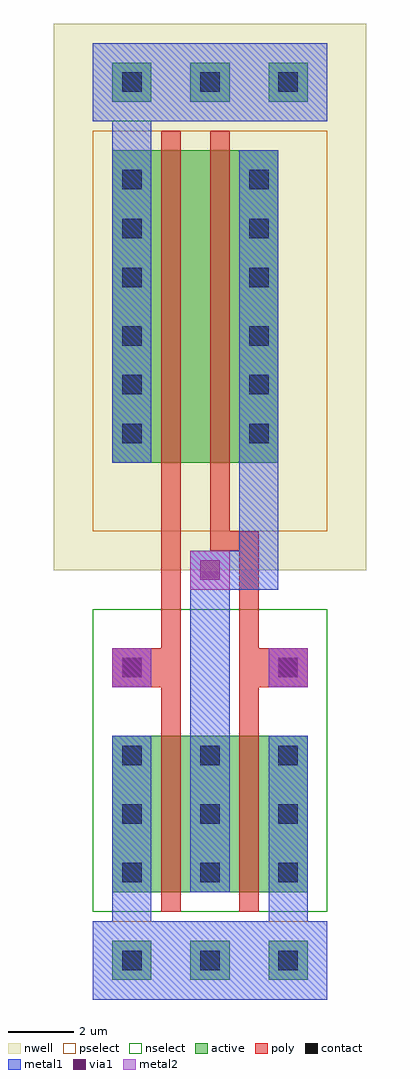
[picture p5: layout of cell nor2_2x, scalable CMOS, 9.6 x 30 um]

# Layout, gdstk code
import gdstk
lib = gdstk.Library(unit=1e-6, precision=1e-09)
def R(c, l, rs):  # rectangles x0, y0, x1, y1
    for r in rs: c.add(gdstk.rectangle(r[:2], r[2:], *l))
def A(c, l, x, y, w, h, nx, ny, dx, dy):  # array of equal rectangles
    R(c, l, [(x+i*dx, y+j*dy, x+i*dx+w, y+j*dy+h) for i in range(nx) for j in range(ny)])
def P(c, l, *ps):  # polygons
    for p in ps: c.add(gdstk.Polygon(p, *l))
contact = (25, 0)
nwell = (42, 0)
active = (43, 0)
pselect = (44, 0)
nselect = (45, 0)
poly = (46, 0)
metal1 = (49, 0)
via1 = (50, 0)
metal2 = (51, 0)

nor2_2x = lib.new_cell('nor2_2x')
A(nor2_2x, contact, 0.9, -0.3, 0.6, 0.6, 3, 2, 2.4, 2.7)
A(nor2_2x, contact, 0.9, 4.2, 0.6, 0.6, 3, 2, 2.4, 1.8)
A(nor2_2x, contact, 0.9, 15.9, 0.6, 0.6, 1, 3, 0, 1.5)
A(nor2_2x, contact, 4.8, 15.9, 0.6, 0.6, 1, 3, 0, 1.5)
A(nor2_2x, contact, 0.9, 20.7, 0.6, 0.6, 1, 3, 0, 1.5)
A(nor2_2x, contact, 4.8, 20.7, 0.6, 0.6, 1, 3, 0, 1.5)
A(nor2_2x, contact, 0.9, 26.7, 0.6, 0.6, 3, 1, 2.4, 0)
R(nor2_2x, contact, [(0.9,8.7,1.5,9.3), (5.7,8.7,6.3,9.3)])
R(nor2_2x, nwell, [(-1.2,12,8.4,28.8)])
A(nor2_2x, active, 0.6, -0.6, 1.2, 1.2, 3, 2, 2.4, 27)
R(nor2_2x, active, [(0.6,2.1,6.6,6.9), (0.6,15.3,5.7,24.9)])
R(nor2_2x, pselect, [(0,-1.2,7.2,1.2), (0,13.2,7.2,25.5)])
R(nor2_2x, nselect, [(0,1.5,7.2,10.8), (0,25.8,7.2,28.2)])
R(nor2_2x, poly, [(2.1,1.5,2.7,25.5), (0.6,8.4,2.1,9.6), (5.1,8.4,6.6,9.6)])
P(nor2_2x, poly, [(5.1,13.2),(4.2,13.2),(4.2,25.5),(3.6,25.5),(3.6,12.6),(4.5,12.6),(4.5,1.5),(5.1,1.5)])
R(nor2_2x, metal1, [(0,-1.2,7.2,1.2), (0.6,8.4,1.8,9.6), (5.4,8.4,6.6,9.6), (0,25.8,7.2,28.2)])
P(nor2_2x, metal1, [(5.7,24.9),(4.5,24.9),(4.5,12.6),(3,12.6),(3,2.1),(4.2,2.1),(4.2,11.4),(5.7,11.4)],
  [(7.2,28.2),(0,28.2),(0,25.8),(0.6,25.8),(0.6,15.3),(1.8,15.3),(1.8,25.8),(7.2,25.8)],
  [(7.2,1.2),(6.6,1.2),(6.6,6.9),(5.4,6.9),(5.4,1.2),(1.8,1.2),(1.8,6.9),(0.6,6.9),(0.6,1.2),(0,1.2),(0,-1.2),(7.2,-1.2)])
R(nor2_2x, via1, [(0.9,8.7,1.5,9.3), (5.7,8.7,6.3,9.3), (3.3,11.7,3.9,12.3)])
R(nor2_2x, metal2, [(0.6,8.4,1.8,9.6), (5.4,8.4,6.6,9.6), (3,11.4,4.2,12.6)])

lib.write_gds('nor2_2x.gds')
